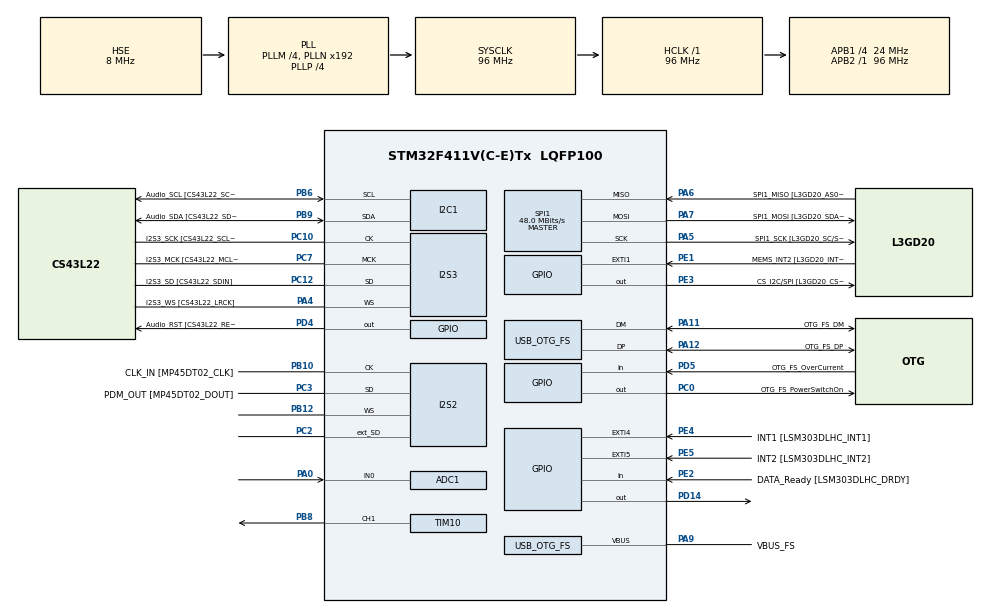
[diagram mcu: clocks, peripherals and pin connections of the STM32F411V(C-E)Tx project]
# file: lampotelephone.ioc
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ADC1.Channel-1\#ChannelRegularConversion=ADC_CHANNEL_0
ADC1.ContinuousConvMode=ENABLE
ADC1.DMAContinuousRequests=DISABLE
ADC1.NbrOfConversion=1
ADC1.NbrOfConversionFlag=1
ADC1.Rank-1\#ChannelRegularConversion=1
ADC1.SamplingTime-1\#ChannelRegularConversion=ADC_SAMPLETIME_3CYCLES
ADC1.master=1
I2S2.AudioFreq=I2S_AUDIOFREQ_96K
I2S2.ErrorAudioFreq=0.15 %
I2S2.FullDuplexMode=I2S_FULLDUPLEXMODE_ENABLE
I2S2.Instance=SPI$Index
I2S2.RealAudioFreq=96.153 KHz
I2S2.VirtualMode=I2S_MODE_MASTER
I2S3.AudioFreq=I2S_AUDIOFREQ_96K
I2S3.ErrorAudioFreq=-6.99 %
I2S3.FullDuplexMode=I2S_FULLDUPLEXMODE_DISABLE
I2S3.Instance=SPI$Index
I2S3.RealAudioFreq=89.285 KHz
I2S3.VirtualMode=I2S_MODE_MASTER
Mcu.Family=STM32F4
Mcu.Name=STM32F411V(C-E)Tx
Mcu.Package=LQFP100
NVIC.ADC_IRQn=true\:0\:0\:false\:false\:true\:true\:true
NVIC.OTG_FS_IRQn=true\:0\:0\:false\:false\:true\:true\:true
NVIC.PriorityGroup=NVIC_PRIORITYGROUP_0
NVIC.TIM1_UP_TIM10_IRQn=true\:0\:0\:false\:false\:true\:true\:true
PA0-WKUP.Signal=ADCx_IN0
PA10.GPIO_Label=OTG_FS_ID
PA10.Signal=USB_OTG_FS_ID
PA11.GPIO_Label=OTG_FS_DM
PA11.Mode=Device_Only
PA11.Signal=USB_OTG_FS_DM
PA12.GPIO_Label=OTG_FS_DP
PA12.Mode=Device_Only
PA12.Signal=USB_OTG_FS_DP
PA13.GPIO_Label=SWDIO
PA13.Signal=SYS_JTMS-SWDIO
PA14.GPIO_Label=SWCLK
PA14.Signal=SYS_JTCK-SWCLK
PA4.GPIO_Label=I2S3_WS [CS43L22_LRCK]
PA4.GPIO_Mode=GPIO_MODE_AF_PP
PA4.GPIO_PuPd=GPIO_NOPULL
PA4.GPIO_Speed=GPIO_SPEED_FREQ_LOW
PA4.Mode=Half_Duplex_Master
PA4.Signal=I2S3_WS
PA5.GPIO_Label=SPI1_SCK [L3GD20_SC/SPC]
PA5.Mode=Full_Duplex_Master
PA5.Signal=SPI1_SCK
PA6.GPIO_Label=SPI1_MISO [L3GD20_AS0/SDO]
PA6.Mode=Full_Duplex_Master
PA6.Signal=SPI1_MISO
PA7.GPIO_Label=SPI1_MOSI [L3GD20_SDA/SDI/SDO]
PA7.Mode=Full_Duplex_Master
PA7.Signal=SPI1_MOSI
PA9.GPIO_Label=VBUS_FS
PA9.Mode=Activate_VBUS
PA9.Signal=USB_OTG_FS_VBUS
PB0.Signal=ADCx_IN8
PB10.GPIO_Label=CLK_IN [MP45DT02_CLK]
PB10.Mode=Full_Duplex_Master
PB10.Signal=I2S2_CK
PB12.Mode=Full_Duplex_Master
PB12.Signal=I2S2_WS
PB3.GPIO_Label=SWO
PB3.Signal=SYS_JTDO-SWO
PB6.GPIO_Label=Audio_SCL [CS43L22_SCL]
PB6.GPIO_Mode=GPIO_MODE_AF_OD
PB6.GPIO_PuPd=GPIO_NOPULL
PB6.GPIO_Speed=GPIO_SPEED_FREQ_LOW
PB6.Mode=I2C
PB6.Signal=I2C1_SCL
PB8.Signal=S_TIM10_CH1
PB9.GPIO_Label=Audio_SDA [CS43L22_SDA]
PB9.GPIO_Mode=GPIO_MODE_AF_OD
PB9.GPIO_PuPd=GPIO_NOPULL
PB9.GPIO_Speed=GPIO_SPEED_FREQ_LOW
PB9.Mode=I2C
PB9.Signal=I2C1_SDA
PC0.GPIO_Label=OTG_FS_PowerSwitchOn
PC0.PinState=GPIO_PIN_SET
PC0.Signal=GPIO_Output
PC10.GPIO_Label=I2S3_SCK [CS43L22_SCLK]
PC10.GPIO_Mode=GPIO_MODE_AF_PP
PC10.GPIO_PuPd=GPIO_NOPULL
PC10.GPIO_Speed=GPIO_SPEED_FREQ_LOW
PC10.Mode=Half_Duplex_Master
PC10.Signal=I2S3_CK
PC12.GPIO_Label=I2S3_SD [CS43L22_SDIN]
PC12.GPIO_Mode=GPIO_MODE_AF_PP
PC12.GPIO_PuPd=GPIO_NOPULL
PC12.GPIO_Speed=GPIO_SPEED_FREQ_LOW
PC12.Mode=Half_Duplex_Master
PC12.Signal=I2S3_SD
PC14-OSC32_IN.GPIO_Label=PC14-OSC32_IN
PC14-OSC32_IN.Mode=LSE-External-Oscillator
PC14-OSC32_IN.Signal=RCC_OSC32_IN
PC15-OSC32_OUT.GPIO_Label=PC15-OSC32_OUT
PC15-OSC32_OUT.Mode=LSE-External-Oscillator
PC15-OSC32_OUT.Signal=RCC_OSC32_OUT
PC2.Mode=Full_Duplex_Master
PC2.Signal=I2S2_ext_SD
PC3.GPIO_Label=PDM_OUT [MP45DT02_DOUT]
PC3.Mode=Full_Duplex_Master
PC3.Signal=I2S2_SD
PC7.GPIO_Label=I2S3_MCK [CS43L22_MCLK]
PC7.GPIO_Mode=GPIO_MODE_AF_PP
PC7.GPIO_PuPd=GPIO_NOPULL
PC7.GPIO_Speed=GPIO_SPEED_FREQ_LOW
PC7.Mode=Master_Clock_Activated
PC7.Signal=I2S3_MCK
PD14.Signal=GPIO_Output
PD4.GPIO_Label=Audio_RST [CS43L22_RESET]
PD4.Signal=GPIO_Output
PD5.GPIO_Label=OTG_FS_OverCurrent
PD5.Signal=GPIO_Input
PE1.GPIO_Label=MEMS_INT2 [L3GD20_INT2]
PE1.GPIO_ModeDefaultEXTI=GPIO_MODE_EVT_RISING
PE1.Signal=GPXTI1
PE2.GPIO_Label=DATA_Ready [LSM303DLHC_DRDY]
PE2.Signal=GPIO_Input
PE3.GPIO_Label=CS_I2C/SPI [L3GD20_CS_I2C/SPI]
PE3.Signal=GPIO_Output
PE4.GPIO_Label=INT1 [LSM303DLHC_INT1]
PE4.GPIO_ModeDefaultEXTI=GPIO_MODE_EVT_RISING
PE4.Signal=GPXTI4
PE5.GPIO_Label=INT2 [LSM303DLHC_INT2]
PE5.GPIO_ModeDefaultEXTI=GPIO_MODE_EVT_RISING
PE5.Signal=GPXTI5
PH0\ -\ OSC_IN.GPIO_Label=PH0-OSC_IN
PH0\ -\ OSC_IN.Mode=HSE-External-Oscillator
PH0\ -\ OSC_IN.Signal=RCC_OSC_IN
PH1\ -\ OSC_OUT.GPIO_Label=PH1-OSC_OUT
PH1\ -\ OSC_OUT.Mode=HSE-External-Oscillator
PH1\ -\ OSC_OUT.Signal=RCC_OSC_OUT
ProjectManager.HeapSize=0x200
ProjectManager.StackSize=0x400
ProjectManager.TargetToolchain=STM32CubeIDE
RCC.48MHZClocksFreq_Value=48000000
RCC.AHBFreq_Value=96000000
RCC.APB1CLKDivider=RCC_HCLK_DIV4
RCC.APB1Freq_Value=24000000
RCC.APB1TimFreq_Value=48000000
RCC.APB2Freq_Value=96000000
RCC.APB2TimFreq_Value=96000000
RCC.CortexFreq_Value=96000000
RCC.HCLKFreq_Value=96000000
RCC.HSE_VALUE=8000000
RCC.HSI_VALUE=16000000
RCC.PLLI2SM=5
RCC.PLLI2SN=200
RCC.PLLM=4
RCC.PLLP=RCC_PLLP_DIV4
RCC.PLLQ=8
RCC.SYSCLKFreq_VALUE=96000000
RCC.SYSCLKSource=RCC_SYSCLKSOURCE_PLLCLK
RCC.VCOOutputFreq_Value=384000000
SH.ADCx_IN0.0=ADC1_IN0,IN0
SH.ADCx_IN8.0=ADC1_IN8
SH.S_TIM10_CH1.0=TIM10_CH1,PWM Generation1 CH1
SPI1.BaudRatePrescaler=SPI_BAUDRATEPRESCALER_2
SPI1.CalculateBaudRate=48.0 MBits/s
SPI1.Direction=SPI_DIRECTION_2LINES
SPI1.Mode=SPI_MODE_MASTER
SPI1.VirtualType=VM_MASTER
TIM10.Channel=TIM_CHANNEL_1
TIM10.Period=10000
TIM10.Prescaler=95
USB_DEVICE.CLASS_NAME_FS=CDC
USB_DEVICE.VirtualMode=Cdc
USB_DEVICE.VirtualModeFS=Cdc_FS
USB_OTG_FS.VirtualMode=Device_Only
VP_TIM10_VS_ClockSourceINT.Mode=Enable_Timer
VP_USB_DEVICE_VS_USB_DEVICE_CDC_FS.Mode=CDC_FS
board=STM32F411E-DISCO

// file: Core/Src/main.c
/* USER CODE BEGIN Header */
/**
  ******************************************************************************
  * @file           : main.c
  * @brief          : Main program body
  ******************************************************************************
  * @attention
  *
  * <h2><center>&copy; Copyright (c) 2020 STMicroelectronics.
  * All rights reserved.</center></h2>
  *
  * This software component is licensed by ST under Ultimate Liberty license
  * SLA0044, the "License"; You may not use this file except in compliance with
  * the License. You may obtain a copy of the License at:
  *                             www.st.com/SLA0044
  *
  ******************************************************************************
  */
/* USER CODE END Header */
#include "main.h"
#include "adc.h"
#include "i2c.h"
#include "i2s.h"
#include "spi.h"
#include "tim.h"
#include "usb_device.h"
#include "gpio.h"

/* USER CODE BEGIN Includes */
#include "usbd_cdc_if.h"
#include <stdio.h>
#include <string.h>
/* USER CODE END Includes */

/* USER CODE BEGIN PD */
#define ADC_BUF_LEN 1
/* USER CODE END PD */

/* USER CODE BEGIN PV */
uint16_t adc_buf[ADC_BUF_LEN];
/* USER CODE END PV */

void SystemClock_Config(void);
/* USER CODE BEGIN PFP */
//void init_timing();

uint32_t get_us();
void udelay(uint32_t useconds);
/* USER CODE END PFP */

/* USER CODE BEGIN 0 */
volatile uint32_t tim10_overflows = 0;
volatile uint32_t value = 0;
volatile char str[50];
volatile uint8_t state = 0;
volatile uint32_t start_impulse;
volatile uint32_t curr_time;

volatile uint32_t counter = 0;

void print(char str[]){
	CDC_Transmit_FS(str, strlen(str));
}

void HAL_TIM_PeriodElapsedCallback(TIM_HandleTypeDef *htim)
{
	if ( htim->Instance == TIM10 )
	{
		++tim10_overflows;
	}
}

void TIM10_reinit()
{
	HAL_TIM_Base_Stop(&htim10);
	__HAL_TIM_SET_PRESCALER( &htim10, (96-1) );
	__HAL_TIM_SET_COUNTER( &htim10, 0 );
	tim10_overflows = 0;
	HAL_TIM_Base_Start_IT(&htim10);
}

inline uint32_t get_us(){ // function to get the time in microseconds for more precise plotting
	__HAL_TIM_DISABLE_IT(&htim10, TIM_IT_UPDATE);
//	__disable_irq();
	uint32_t res = tim10_overflows * 10000 + __HAL_TIM_GET_COUNTER(&htim10);
//	__enable_irq();
	__HAL_TIM_ENABLE_IT(&htim10, TIM_IT_UPDATE);
	return res;
}

inline void udelay(uint32_t useconds) { // in case we need to make precise delays
	uint32_t before = get_us();
	while( get_us() < before+useconds){}
}

void HAL_ADC_ConvCpltCallback(ADC_HandleTypeDef* hadc){
	if (hadc->Instance == ADC1){
		value = HAL_ADC_GetValue(&hadc1);

		if ((state == 0) && (value > 100)){
			start_impulse = get_us();
			state = 1;
			HAL_GPIO_WritePin(GPIOD, GPIO_PIN_14, 1);

		}
		else if ((state == 1) && (value < 100)){ // the impulse has ended
			HAL_GPIO_WritePin(GPIOD, GPIO_PIN_14, 0);
			curr_time = get_us();
			snprintf(str, 26, "%lu %lu\n", curr_time - start_impulse, curr_time);
			print(str);
			state = 0;
		}
	}
}

//int _write(int file, char *ptr, int len) // a function for convenient printing in debug
//{
//	int i = 0;
//	for(i = 0; i < len; i++){
//		ITM_SendChar((*ptr++));
//	}
//	return len;
//}

//void HAL_ADC_ConvCpltCallback(ADC_HandleTypeDef* hadc)
//{
////	printf("first: %hu \n", adc_buf[0]);
//
//	value = adc_buf[0];
//}

/* USER CODE END 0 */

int main(void)
{

  /* MCU Configuration--------------------------------------------------------*/

  /* Reset of all peripherals, Initializes the Flash interface and the Systick. */
  HAL_Init();

  /* Configure the system clock */
  SystemClock_Config();

  /* Initialize all configured peripherals */
  MX_GPIO_Init();
  MX_I2C1_Init();
  MX_I2S2_Init();
  MX_I2S3_Init();
  MX_SPI1_Init();
  MX_USB_DEVICE_Init();
  MX_ADC1_Init();
  MX_TIM10_Init();
  /* USER CODE BEGIN 2 */

//  HAL_ADCEx_Calibration_Start(&hadc1); // might be useful

//    HAL_ADC_Start_IT(&hadc1);

  /* USER CODE END 2 */

  /* Infinite loop */
  /* USER CODE BEGIN WHILE */
	TIM10_reinit();  // start to count from the beginning
	HAL_GPIO_WritePin(GPIOD, GPIO_PIN_14, 0);
//	HAL_ADC_Start_DMA(&hadc1, (uint32_t *)adc_buf, ADC_BUF_LEN);
//    HAL_ADCEx_Calibration_Start(&hadc1);
    while (1)
    {
    	// Start ADC Conversion
    	HAL_ADC_Start_IT(&hadc1);

    /* USER CODE END WHILE */

	}
}

void SystemClock_Config(void)
{
  RCC_OscInitTypeDef RCC_OscInitStruct = {0};
  RCC_ClkInitTypeDef RCC_ClkInitStruct = {0};
  RCC_PeriphCLKInitTypeDef PeriphClkInitStruct = {0};

  /** Configure the main internal regulator output voltage
  */
  __HAL_RCC_PWR_CLK_ENABLE();
  __HAL_PWR_VOLTAGESCALING_CONFIG(PWR_REGULATOR_VOLTAGE_SCALE1);
  /** Initializes the RCC Oscillators according to the specified parameters
  * in the RCC_OscInitTypeDef structure.
  */
  RCC_OscInitStruct.OscillatorType = RCC_OSCILLATORTYPE_HSE;
  RCC_OscInitStruct.HSEState = RCC_HSE_ON;
  RCC_OscInitStruct.PLL.PLLState = RCC_PLL_ON;
  RCC_OscInitStruct.PLL.PLLSource = RCC_PLLSOURCE_HSE;
  RCC_OscInitStruct.PLL.PLLM = 4;
  RCC_OscInitStruct.PLL.PLLN = 192;
  RCC_OscInitStruct.PLL.PLLP = RCC_PLLP_DIV4;
  RCC_OscInitStruct.PLL.PLLQ = 8;
  if (HAL_RCC_OscConfig(&RCC_OscInitStruct) != HAL_OK)
  {
    Error_Handler();
  }
  /** Initializes the CPU, AHB and APB buses clocks
  */
  RCC_ClkInitStruct.ClockType = RCC_CLOCKTYPE_HCLK|RCC_CLOCKTYPE_SYSCLK
                              |RCC_CLOCKTYPE_PCLK1|RCC_CLOCKTYPE_PCLK2;
  RCC_ClkInitStruct.SYSCLKSource = RCC_SYSCLKSOURCE_PLLCLK;
  RCC_ClkInitStruct.AHBCLKDivider = RCC_SYSCLK_DIV1;
  RCC_ClkInitStruct.APB1CLKDivider = RCC_HCLK_DIV4;
  RCC_ClkInitStruct.APB2CLKDivider = RCC_HCLK_DIV1;

  if (HAL_RCC_ClockConfig(&RCC_ClkInitStruct, FLASH_LATENCY_3) != HAL_OK)
  {
    Error_Handler();
  }
  PeriphClkInitStruct.PeriphClockSelection = RCC_PERIPHCLK_I2S;
  PeriphClkInitStruct.PLLI2S.PLLI2SN = 200;
  PeriphClkInitStruct.PLLI2S.PLLI2SM = 5;
  PeriphClkInitStruct.PLLI2S.PLLI2SR = 2;
  if (HAL_RCCEx_PeriphCLKConfig(&PeriphClkInitStruct) != HAL_OK)
  {
    Error_Handler();
  }
}

void Error_Handler(void)
{
}

/************************ (C) COPYRIGHT STMicroelectronics *****END OF FILE****/
